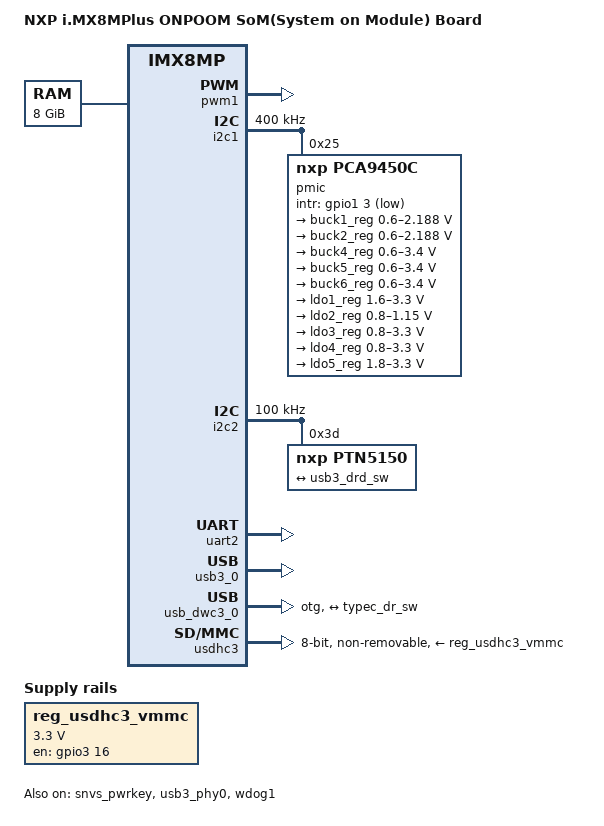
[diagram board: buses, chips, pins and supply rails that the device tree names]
// SPDX-License-Identifier: (GPL-2.0+ OR MIT)
/*
 * Copyright 2019 NXP
 * Copyright 2025 ONPOOM
 */

/dts-v1/;

#include <dt-bindings/usb/pd.h>
#include "imx8mp.dtsi"

/ {
	model = "NXP i.MX8MPlus ONPOOM SoM(System on Module) Board";
	compatible = "fsl,imx8mp-evk", "fsl,imx8mp";

	chosen {
		stdout-path = &uart2;
	};

	memory@40000000 {
		device_type = "memory";
		reg = <0x0 0x40000000 0 0xc0000000>,
		      <0x1 0x00000000 0x1 0x40000000>;
	};

	reg_usdhc3_vmmc: regulator-usdhc3 {
		compatible = "regulator-fixed";
		pinctrl-names = "default";
		pinctrl-0 = <&pinctrl_sys_status_led>;
		regulator-name = "VSD3_3V3";
		regulator-min-microvolt = <3300000>;
		regulator-max-microvolt = <3300000>;
		gpio = <&gpio3 16 GPIO_ACTIVE_HIGH>;
		enable-active-high;
		startup-delay-us = <100>;
		off-on-delay-us = <35000>;	/* boot delay */
	};
};

&pwm1 {
	pinctrl-names = "default";
	pinctrl-0 = <&pinctrl_pwm1>;
	status = "okay";
};

&i2c1 {
	clock-frequency = <400000>;
	pinctrl-names = "default";
	pinctrl-0 = <&pinctrl_i2c1>;
	status = "okay";

	pmic: pca9450@25 {
		compatible = "nxp,pca9450c";
		reg = <0x25>;
		pinctrl-names = "default";
		pinctrl-0 = <&pinctrl_pmic>;
		gpio_intr = <&gpio1 3 GPIO_ACTIVE_LOW>;

		regulators {
			#address-cells = <1>;
			#size-cells = <0>;
			
			pca9450,pmic-buck2-uses-i2c-dvs;
			pca9450,pmic-buck2-dvs-voltage = <950000>, <850000>;

			buck1_reg: regulator@0 {
				reg = <0>;
				regulator-name = "buck1";
				regulator-min-microvolt = <600000>;
				regulator-max-microvolt = <2187500>;
				regulator-boot-on;
				regulator-always-on;
				regulator-ramp-delay = <3125>;
			};

			buck2_reg: regulator@1 {
				reg = <1>;
				regulator-name = "buck2";
				regulator-min-microvolt = <600000>;
				regulator-max-microvolt = <2187500>;
				regulator-boot-on;
				regulator-always-on;
				regulator-ramp-delay = <3125>;
			};

			buck4_reg: regulator@3 {
				reg = <3>;
				regulator-name = "buck4";
				regulator-min-microvolt = <600000>;
				regulator-max-microvolt = <3400000>;
				regulator-boot-on;
				regulator-always-on;
			};

			buck5_reg: regulator@4 {
				reg = <4>;
				regulator-name = "buck5";
				regulator-min-microvolt = <600000>;
				regulator-max-microvolt = <3400000>;
				regulator-boot-on;
				regulator-always-on;
			};

			buck6_reg: regulator@5 {
				reg = <5>;
				regulator-name = "buck6";
				regulator-min-microvolt = <600000>;
				regulator-max-microvolt = <3400000>;
				regulator-boot-on;
				regulator-always-on;
			};

			ldo1_reg: regulator@6 {
				reg = <6>;
				regulator-name = "ldo1";
				regulator-min-microvolt = <1600000>;
				regulator-max-microvolt = <3300000>;
				regulator-boot-on;
				regulator-always-on;
			};

			ldo2_reg: regulator@7 {
				reg = <7>;
				regulator-name = "ldo2";
				regulator-min-microvolt = <800000>;
				regulator-max-microvolt = <1150000>;
				regulator-boot-on;
				regulator-always-on;
			};

			ldo3_reg: regulator@8 {
				reg = <8>;
				regulator-name = "ldo3";
				regulator-min-microvolt = <800000>;
				regulator-max-microvolt = <3300000>;
				regulator-boot-on;
				regulator-always-on;
			};

			ldo4_reg: regulator@9 {
				reg = <9>;
				regulator-name = "ldo4";
				regulator-min-microvolt = <800000>;
				regulator-max-microvolt = <3300000>;
				regulator-boot-on;
				regulator-always-on;
			};

			ldo5_reg: regulator@10 {
				reg = <10>;
				regulator-name = "ldo5";
				regulator-min-microvolt = <1800000>;
				regulator-max-microvolt = <3300000>;
			};
		};
	};
};

&i2c2 {
	clock-frequency = <100000>;
	pinctrl-names = "default";
	pinctrl-0 = <&pinctrl_i2c2>;
	status = "okay";

	ptn5150: tcpc@3d {
		compatible = "nxp,ptn5150";
		pinctrl-names = "default";
		pinctrl-0 = <&pinctrl_typec>;
		reg = <0x3d>;
		i2c-bus = <0x1>;

		port {
			typec_dr_sw: endpoint {
				remote-endpoint = <&usb3_drd_sw>;
			};
		};
	};
};

&snvs_pwrkey {
	status = "okay";
};

&uart2 {
	/* console */
	pinctrl-names = "default";
	pinctrl-0 = <&pinctrl_uart2>;
	status = "okay";
};

&usb3_phy0 {
	fsl,phy-tx-vref-tune = <0xe>;
	fsl,phy-tx-preemp-amp-tune = <3>;
	fsl,phy-tx-vboost-level = <5>;
	fsl,phy-comp-dis-tune = <7>;
	fsl,pcs-tx-deemph-3p5db = <0x21>;
	fsl,phy-pcs-tx-swing-full = <0x7f>;
	status = "okay";
};

&usb3_0 {
	status = "okay";
};

&usb_dwc3_0 {
	dr_mode = "otg";
	hnp-disable;
	srp-disable;
	adp-disable;
	usb-role-switch;
	role-switch-default-mode = "none";
	snps,dis-u1-entry-quirk;
	snps,dis-u2-entry-quirk;
	status = "okay";

	port {
		usb3_drd_sw: endpoint {
			remote-endpoint = <&typec_dr_sw>;
		};
	};
};

&usdhc3 {
	assigned-clocks = <&clk IMX8MP_CLK_USDHC3>;
	assigned-clock-rates = <400000000>;
	pinctrl-names = "default", "state_100mhz", "state_200mhz";
	pinctrl-0 = <&pinctrl_usdhc3>;
	pinctrl-1 = <&pinctrl_usdhc3_100mhz>;
	pinctrl-2 = <&pinctrl_usdhc3_200mhz>;
	vmmc-supply = <&reg_usdhc3_vmmc>;
	bus-width = <8>;
	non-removable;
	status = "okay";
};

&wdog1 {
	pinctrl-names = "default";
	pinctrl-0 = <&pinctrl_wdog>;
	fsl,ext-reset-output;
	status = "okay";
};

&iomuxc {
	pinctrl_sys_status_led: sys-status-ledgrp {
		fsl,pins = <
			MX8MP_IOMUXC_NAND_READY_B__GPIO3_IO16	0x41
		>;
	};

	pinctrl_pwm1: pwm1grp {
		fsl,pins = <
			MX8MP_IOMUXC_GPIO1_IO01__PWM1_OUT	0x116
		>;
	};

	pinctrl_i2c1: i2c1grp {
		fsl,pins = <
			MX8MP_IOMUXC_I2C1_SCL__I2C1_SCL		0x400001c2
			MX8MP_IOMUXC_I2C1_SDA__I2C1_SDA		0x400001c2
		>;
	};

	pinctrl_i2c2: i2c2grp {
		fsl,pins = <
			MX8MP_IOMUXC_I2C2_SCL__I2C2_SCL		0x400001c2
			MX8MP_IOMUXC_I2C2_SDA__I2C2_SDA		0x400001c2
		>;
	};

	pinctrl_typec: typecgrp {
		fsl,pins = <
			MX8MP_IOMUXC_GPIO1_IO09__GPIO1_IO09	0x1c4
		>;
	};

	pinctrl_pmic: pmicgrp {
		fsl,pins = <
			MX8MP_IOMUXC_GPIO1_IO03__GPIO1_IO03	0x000001c0
		>;
	};

	pinctrl_uart2: uart2grp {
		fsl,pins = <
			MX8MP_IOMUXC_UART2_RXD__UART2_DCE_RX	0x140
			MX8MP_IOMUXC_UART2_TXD__UART2_DCE_TX	0x140
		>;
	};

	pinctrl_usdhc3: usdhc3grp {
		fsl,pins = <
			MX8MP_IOMUXC_NAND_WE_B__USDHC3_CLK	0x190
			MX8MP_IOMUXC_NAND_WP_B__USDHC3_CMD	0x1d0
			MX8MP_IOMUXC_NAND_DATA04__USDHC3_DATA0	0x1d0
			MX8MP_IOMUXC_NAND_DATA05__USDHC3_DATA1	0x1d0
			MX8MP_IOMUXC_NAND_DATA06__USDHC3_DATA2	0x1d0
			MX8MP_IOMUXC_NAND_DATA07__USDHC3_DATA3	0x1d0
			MX8MP_IOMUXC_NAND_RE_B__USDHC3_DATA4	0x1d0
			MX8MP_IOMUXC_NAND_CE2_B__USDHC3_DATA5	0x1d0
			MX8MP_IOMUXC_NAND_CE3_B__USDHC3_DATA6	0x1d0
			MX8MP_IOMUXC_NAND_CLE__USDHC3_DATA7	0x1d0
			MX8MP_IOMUXC_NAND_CE1_B__USDHC3_STROBE	0x190
		>;
	};

	pinctrl_usdhc3_100mhz: usdhc3-100mhzgrp {
		fsl,pins = <
			MX8MP_IOMUXC_NAND_WE_B__USDHC3_CLK	0x194
			MX8MP_IOMUXC_NAND_WP_B__USDHC3_CMD	0x1d4
			MX8MP_IOMUXC_NAND_DATA04__USDHC3_DATA0	0x1d4
			MX8MP_IOMUXC_NAND_DATA05__USDHC3_DATA1	0x1d4
			MX8MP_IOMUXC_NAND_DATA06__USDHC3_DATA2	0x1d4
			MX8MP_IOMUXC_NAND_DATA07__USDHC3_DATA3	0x1d4
			MX8MP_IOMUXC_NAND_RE_B__USDHC3_DATA4	0x1d4
			MX8MP_IOMUXC_NAND_CE2_B__USDHC3_DATA5	0x1d4
			MX8MP_IOMUXC_NAND_CE3_B__USDHC3_DATA6	0x1d4
			MX8MP_IOMUXC_NAND_CLE__USDHC3_DATA7	0x1d4
			MX8MP_IOMUXC_NAND_CE1_B__USDHC3_STROBE	0x194
		>;
	};

	pinctrl_usdhc3_200mhz: usdhc3-200mhzgrp {
		fsl,pins = <
			MX8MP_IOMUXC_NAND_WE_B__USDHC3_CLK	0x196
			MX8MP_IOMUXC_NAND_WP_B__USDHC3_CMD	0x1d6
			MX8MP_IOMUXC_NAND_DATA04__USDHC3_DATA0	0x1d6
			MX8MP_IOMUXC_NAND_DATA05__USDHC3_DATA1	0x1d6
			MX8MP_IOMUXC_NAND_DATA06__USDHC3_DATA2	0x1d6
			MX8MP_IOMUXC_NAND_DATA07__USDHC3_DATA3	0x1d6
			MX8MP_IOMUXC_NAND_RE_B__USDHC3_DATA4	0x1d6
			MX8MP_IOMUXC_NAND_CE2_B__USDHC3_DATA5	0x1d6
			MX8MP_IOMUXC_NAND_CE3_B__USDHC3_DATA6	0x1d6
			MX8MP_IOMUXC_NAND_CLE__USDHC3_DATA7	0x1d6
			MX8MP_IOMUXC_NAND_CE1_B__USDHC3_STROBE	0x196
		>;
	};

	pinctrl_wdog: wdoggrp {
		fsl,pins = <
			MX8MP_IOMUXC_GPIO1_IO02__WDOG1_WDOG_B	0x166
		>;
	};
};
